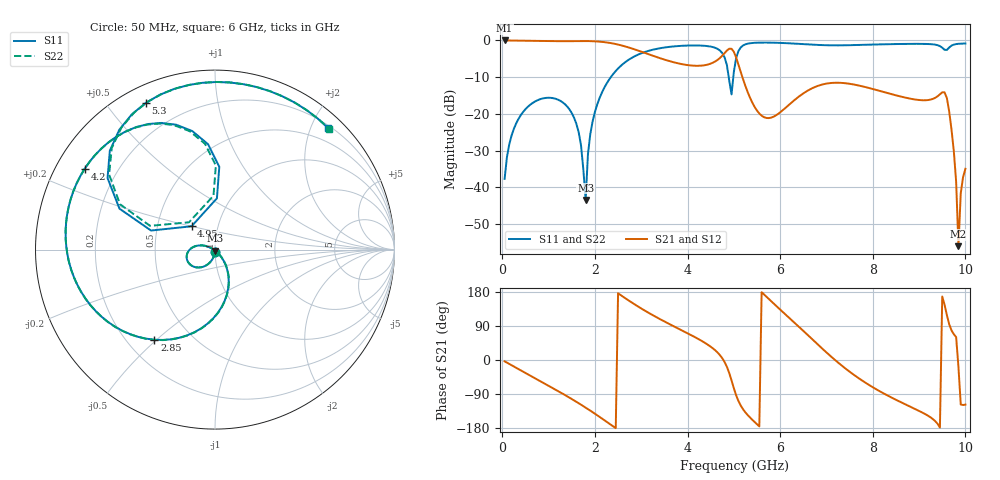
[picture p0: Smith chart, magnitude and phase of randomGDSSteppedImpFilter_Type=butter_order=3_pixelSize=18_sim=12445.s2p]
! freq	dB(S11)	phase(S11)	dB(S12)	phase(S12)
!  dB(S21)	phase(S21)	dB(S22)	phase(S22)
!S-par simulation data
#  GHz  S  DB  R 50
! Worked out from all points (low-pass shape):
!   200 points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, 50 MHz to 10 GHz, reference 50 ohm
!   highest |S21| = -0.01 dB at 50 MHz (marker M1); lowest = -56.0 dB at 9.85 GHz (marker M2)
!   |S21| within 3 dB of the highest: start of sweep to 2.989 GHz; 4.833 GHz to 4.995 GHz (162.6 MHz wide, 3.31 % of centre)
!   lowest |S11| = -43.4 dB at 1.8 GHz (marker M3), VSWR 1.01, Z = 50.1 - j0.672 ohm
!   |S11| at or under -10 dB: start of sweep to 2.343 GHz; 4.889 GHz to 4.988 GHz (98.98 MHz wide, 2 % of centre)
!   |S22| runs from -44.2 to -0.6 dB; largest |S21 - S12| = 0
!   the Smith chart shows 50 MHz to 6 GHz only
!   S11 on the Smith chart (normalised r, x): 50 MHz: 1.00, -0.03; 2.85 GHz: 0.31, -0.49; 4.2 GHz: 0.08, +0.28; 4.95 GHz: 0.75, +0.20; 5.3 GHz: 0.07, +0.63; 6 GHz: 0.24, +2.27
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0.05  -37.70 -92.1  -0.01 -3.5  -0.01 -3.5  -37.70 -92.2
0.3  -22.58 -110.7  -0.06 -20.6  -0.06 -20.6  -22.58 -110.8
0.95  -15.64 -154.9  -0.20 -64.6  -0.20 -64.6  -15.64 -155.0
1.5  -19.77 168.0  -0.18 -103.0  -0.18 -103.0  -19.77 167.7
1.75  -35.13 162.0  -0.16 -121.8  -0.16 -121.8  -35.22 159.3
1.8  -43.41 -83.3  -0.17 -125.7  -0.17 -125.7  -44.21 -77.8
2.05  -17.42 -59.1  -0.28 -145.9  -0.28 -145.9  -17.43 -58.6
2.85  -4.36 -123.9  -2.40 147.4  -2.40 147.4  -4.37 -123.7
3.4  -2.13 -162.6  -4.81 108.2  -4.81 108.2  -2.13 -162.4
4.2  -1.37 148.1  -6.91 57.7  -6.91 57.7  -1.37 148.4
4.7  -2.75 107.3  -4.76 12.8  -4.76 12.8  -2.73 108.2
4.95  -14.69 135.2  -2.27 -53.8  -2.27 -53.8  -13.55 133.6
5.05  -4.75 156.8  -4.64 -93.2  -4.64 -93.2  -4.64 154.5
5.3  -0.88 115.3  -14.10 -145.4  -14.10 -145.4  -0.87 114.4
6  -0.67 47.1  -19.58 133.1  -19.58 133.1  -0.67 46.6
6.7  -1.15 -30.3  -12.96 53.9  -12.96 53.9  -1.15 -30.8
7.35  -1.33 -103.7  -11.58 -16.7  -11.58 -16.7  -1.33 -104.0
8.35  -1.02 173.7  -14.44 -95.7  -14.44 -95.7  -1.02 173.6
9.55  -2.55 106.3  -14.11 145.9  -14.11 145.9  -2.53 106.2
9.75  -1.13 105.0  -30.14 68.1  -30.14 68.1  -1.13 104.9
9.85  -0.92 98.6  -56.02 -18.5  -56.02 -18.5  -0.92 98.6
10  -0.84 90.2  -34.95 -117.8  -34.95 -117.8  -0.84 90.2
